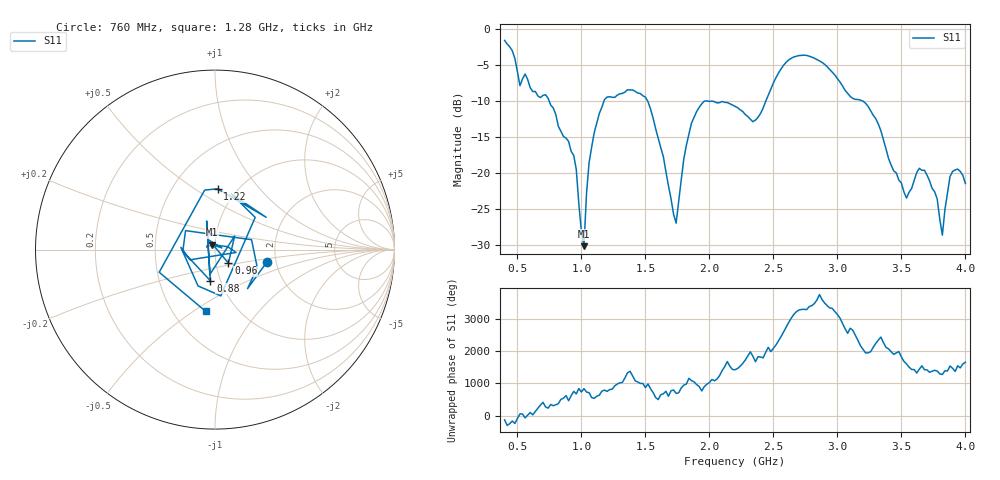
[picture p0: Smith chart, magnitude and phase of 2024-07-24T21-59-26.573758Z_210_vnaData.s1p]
!Created with skrf (http://scikit-rf.org).
# Hz S RI R 50.0
!freq ReS11 ImS11
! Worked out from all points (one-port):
!   181 points, 400 MHz to 4 GHz, reference 50 ohm
!   lowest |S11| = -30.1 dB at 1.02 GHz (marker M1), VSWR 1.06, Z = 48.4 + j2.64 ohm
!   |S11| at or under -10 dB: 748.3 MHz to 1.176 GHz (428 MHz wide, 44.5 % of centre); 1.518 GHz to 1.964 GHz (446.4 MHz wide, 25.6 % of centre); 3.199 GHz to end of sweep (the widest 3 of 5)
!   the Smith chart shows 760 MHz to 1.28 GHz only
!   S11 on the Smith chart (normalised r, x): 760 MHz: 1.79, -0.27; 880 MHz: 0.90, -0.32; 960 MHz: 1.15, -0.17; 1.22 GHz: 0.81, +0.62; 1.28 GHz: 0.72, -0.56
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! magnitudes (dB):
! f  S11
! 400 MHz  -1.6
! 520 MHz  -7.9
! 760 MHz  -10.5
! 860 MHz  -14.9
! 880 MHz  -15.1
! 960 MHz  -19.5
! 1.02 GHz  -30.1
! 1.04 GHz  -22.8
! 1.08 GHz  -16.4
! 1.22 GHz  -9.4
! 1.28 GHz  -9.2
! 1.3 GHz  -9.0
! 1.52 GHz  -10.1
! 1.74 GHz  -26.9
! 1.76 GHz  -23.9
! 1.82 GHz  -16.1
! 1.9 GHz  -11.5
! 2.2 GHz  -10.7
! 2.36 GHz  -12.6
! 2.66 GHz  -3.9
! 3.1 GHz  -9.3
! 3.3 GHz  -12.4
! 3.56 GHz  -22.6
! 3.68 GHz  -19.6
! 3.78 GHz  -23.6
! 3.82 GHz  -28.6
! 3.88 GHz  -20.5
! 4 GHz  -21.4
